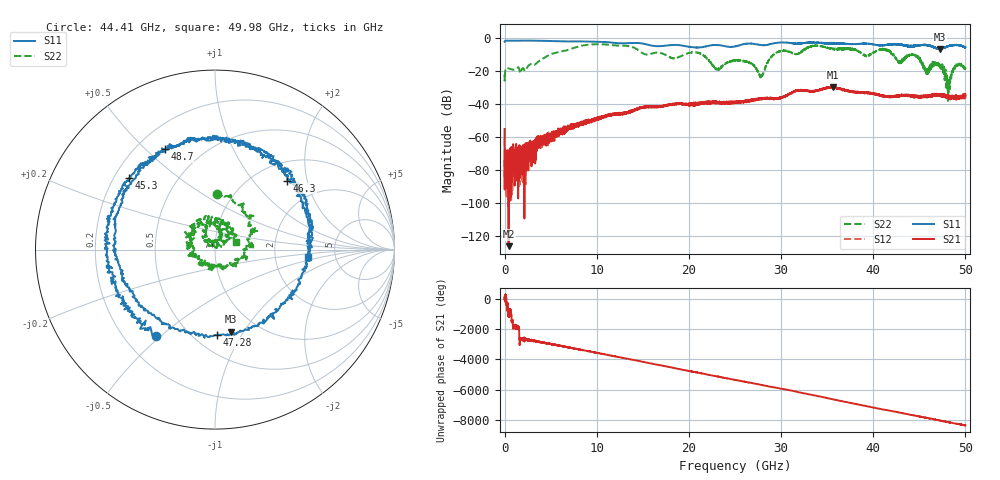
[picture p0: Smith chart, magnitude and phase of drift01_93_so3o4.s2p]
!Created with skrf (http://scikit-rf.org).
# Hz S RI R 50.0
!freq ReS11 ImS11 ReS21 ImS21 ReS12 ImS12 ReS22 ImS22
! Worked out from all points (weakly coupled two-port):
!   10001 points, 300 kHz to 50 GHz, reference 50 ohm
!   highest |S21| = -29.54 dB at 35.59 GHz (marker M1); lowest = -126.0 dB at 430.3 MHz (marker M2)
!   lowest |S11| = -6.7 dB at 47.21 GHz (marker M3), VSWR 2.74, Z = 37.6 - j43.8 ohm
!   |S11| at or under -10 dB: nowhere
!   |S22| runs from -38.9 to -3.6 dB; largest |S21 - S12| = 0.0042
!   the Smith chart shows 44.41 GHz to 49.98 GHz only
!   S11 on the Smith chart (normalised r, x): 44.41 GHz: 0.33, -0.48; 45.3 GHz: 0.26, +0.34; 46.3 GHz: 1.37, +1.53; 47.28 GHz: 0.64, -0.79; 48.7 GHz: 0.31, +0.57; 49.98 GHz: 3.11, -0.34
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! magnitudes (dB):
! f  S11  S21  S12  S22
! 300 kHz  -2.1  -55.0  -61.1  -21.8
! 430.3 MHz  -1.4  -126.0  -69.5  -18.3
! 8.335 GHz  -1.9  -50.6  -51.2  -4.6
! 16.67 GHz  -4.8  -41.9  -41.5  -8.7
! 20.96 GHz  -5.6  -40.2  -39.1  -8.7
! 23.07 GHz  -4.1  -38.5  -38.5  -18.7
! 25 GHz  -5.0  -39.1  -39.3  -13.7
! 27.84 GHz  -4.1  -36.2  -36.5  -22.9
! 29.47 GHz  -2.8  -36.5  -36.7  -8.8
! 33.34 GHz  -2.6  -32.1  -31.9  -4.7
! 35.59 GHz  -2.9  -29.5  -29.8  -6.4
! 41.67 GHz  -3.8  -35.3  -35.2  -7.7
! 42.85 GHz  -3.9  -35.1  -34.7  -13.9
! 44.41 GHz  -4.7  -35.8  -34.9  -10.1
! 45.3 GHz  -4.1  -35.2  -35.6  -15.5
! 46.3 GHz  -5.1  -35.0  -34.3  -15.9
! 47.21 GHz  -6.7  -34.4  -34.7  -16.7
! 47.28 GHz  -6.5  -34.6  -34.8  -16.2
! 48.13 GHz  -4.8  -35.7  -35.6  -34.8
! 48.7 GHz  -4.1  -36.3  -36.2  -18.9
! 49.98 GHz  -5.7  -34.9  -34.5  -18.2
! 50 GHz  -5.5  -35.6  -34.5  -18.5
